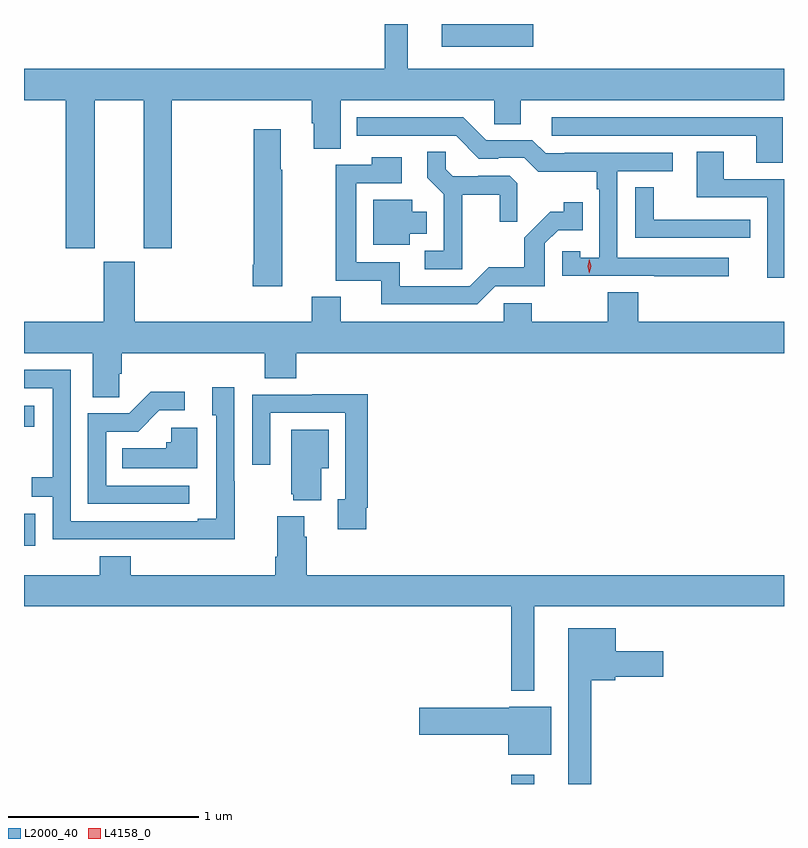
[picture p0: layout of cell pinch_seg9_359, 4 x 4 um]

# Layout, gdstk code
import gdstk
lib = gdstk.Library(unit=1e-6, precision=1e-09)
def R(c, l, rs):  # rectangles x0, y0, x1, y1
    for r in rs: c.add(gdstk.rectangle(r[:2], r[2:], *l))
def P(c, l, *ps):  # polygons
    for p in ps: c.add(gdstk.Polygon(p, *l))
L2000_40 = (2000, 40)
L4158_0 = (4158, 0)

pinch_seg9_359 = lib.new_cell('pinch_seg9_359')
R(pinch_seg9_359, L2000_40, [(375.39,1222.124,375.511,1222.174), (372.825,1223.379,372.885,1223.547), (372.825,1224.005,372.88,1224.115), (375.023,1226.003,375.505,1226.124)])
P(pinch_seg9_359, L2000_40, [(373.198,1225.724),(373.454,1225.724),(373.454,1224.945),(373.602,1224.945),(373.602,1225.724),(374.339,1225.724),(374.339,1225.602),(374.351,1225.602),(374.351,1225.468),(374.491,1225.468),(374.491,1225.724),(375.3,1225.724),(375.3,1225.597),(375.439,1225.597),(375.439,1225.724),(376.825,1225.724),(376.825,1225.888),(374.845,1225.888),(374.845,1226.124),(374.724,1226.124),(374.724,1225.888),(372.825,1225.888),(372.825,1225.724),(373.046,1225.724),(373.046,1224.945),(373.198,1224.945)],
  [(376.819,1225.632),(375.603,1225.632),(375.603,1225.536),(376.679,1225.536),(376.679,1225.393),(376.819,1225.393)],
  [(376.534,1224.894),(375.948,1224.894),(375.948,1225.35),(376.24,1225.35),(376.24,1225.446),(375.67,1225.446),(375.67,1225.443),(375.57,1225.443),(375.501,1225.512),(375.258,1225.512),(375.138,1225.632),(374.576,1225.632),(374.576,1225.536),(375.099,1225.536),(375.219,1225.416),(375.32,1225.416),(375.32,1225.419),(375.459,1225.419),(375.532,1225.346),(375.84,1225.346),(375.84,1225.253),(375.852,1225.253),(375.852,1224.895),(375.753,1224.895),(375.753,1224.927),(375.657,1224.927),(375.657,1224.798),(376.141,1224.798),(376.141,1224.796),(376.534,1224.796)],
  [(374.184,1225.357),(374.176,1225.357),(374.176,1225.57),(374.035,1225.57),(374.035,1224.856),(374.03,1224.856),(374.03,1224.744),(374.184,1224.744)],
  [(375.131,1225.226),(375.328,1225.226),(375.328,1225.083),(375.422,1225.083),(375.422,1225.285),(375.381,1225.326),(375.216,1225.326),(375.216,1225.323),(375.082,1225.323),(375.045,1225.36),(375.045,1225.451),(374.947,1225.451),(374.947,1225.315),(375.033,1225.229),(375.033,1224.93),(374.934,1224.93),(374.934,1224.834),(375.131,1224.834)],
  [(376.825,1225.308),(376.507,1225.308),(376.507,1225.451),(376.367,1225.451),(376.367,1225.212),(376.737,1225.212),(376.737,1224.789),(376.825,1224.789)],
  [(375.306,1224.744),(375.567,1224.744),(375.567,1224.969),(375.636,1225.038),(375.767,1225.038),(375.767,1225.186),(375.666,1225.186),(375.666,1225.136),(375.596,1225.136),(375.459,1224.998),(375.459,1224.843),(375.27,1224.843),(375.171,1224.744),(374.803,1224.744),(374.803,1224.87),(374.574,1224.87),(374.574,1225.287),(374.812,1225.287),(374.812,1225.423),(374.656,1225.423),(374.656,1225.383),(374.466,1225.383),(374.466,1224.774),(374.705,1224.774),(374.705,1224.648),(375.21,1224.648)],
  [(376.648,1225.094),(376.535,1225.094),(376.535,1225.095),(376.14,1225.095),(376.14,1225.265),(376.041,1225.265),(376.041,1224.999),(376.648,1224.999)],
  [(374.854,1225.019),(374.944,1225.019),(374.944,1225.135),(374.869,1225.135),(374.869,1225.198),(374.663,1225.198),(374.663,1224.962),(374.854,1224.962)],
  [(376.825,1224.556),(376.058,1224.556),(376.058,1224.713),(375.898,1224.713),(375.898,1224.556),(375.498,1224.556),(375.498,1224.654),(375.351,1224.654),(375.351,1224.556),(374.491,1224.556),(374.491,1224.689),(374.339,1224.689),(374.339,1224.556),(373.408,1224.556),(373.408,1224.873),(373.244,1224.873),(373.244,1224.556),(372.825,1224.556),(372.825,1224.392),(373.187,1224.392),(373.187,1224.16),(373.326,1224.16),(373.326,1224.283),(373.34,1224.283),(373.34,1224.392),(374.093,1224.392),(374.093,1224.259),(374.258,1224.259),(374.258,1224.392),(376.825,1224.392)],
  [(373.935,1223.717),(373.932,1223.717),(373.932,1224.211),(373.817,1224.211),(373.817,1224.066),(373.836,1224.066),(373.836,1223.521),(373.739,1223.521),(373.739,1223.508),(373.071,1223.508),(373.071,1224.303),(372.825,1224.303),(372.825,1224.207),(372.975,1224.207),(372.975,1223.738),(372.865,1223.738),(372.865,1223.637),(372.975,1223.637),(372.975,1223.412),(373.471,1223.412),(373.471,1223.411),(373.935,1223.411)],
  [(373.696,1223.694),(373.257,1223.694),(373.257,1223.979),(373.426,1223.979),(373.537,1224.09),(373.672,1224.09),(373.672,1224.188),(373.493,1224.188),(373.38,1224.075),(373.161,1224.075),(373.161,1223.598),(373.696,1223.598)],
  [(374.626,1223.578),(374.633,1223.578),(374.633,1224.176),(374.341,1224.176),(374.341,1224.174),(374.025,1224.174),(374.025,1223.805),(374.121,1223.805),(374.121,1224.078),(374.517,1224.078),(374.517,1223.622),(374.477,1223.622),(374.477,1223.466),(374.626,1223.466)],
  [(373.738,1223.998),(373.599,1223.998),(373.599,1223.922),(373.573,1223.922),(373.573,1223.89),(373.342,1223.89),(373.342,1223.786),(373.738,1223.786)],
  [(374.389,1223.786),(374.428,1223.786),(374.428,1223.989),(374.231,1223.989),(374.231,1223.649),(374.243,1223.649),(374.243,1223.618),(374.389,1223.618)],
  [(375.511,1223.06),(376.825,1223.06),(376.825,1223.224),(374.312,1223.224),(374.312,1223.426),(374.299,1223.426),(374.299,1223.533),(374.159,1223.533),(374.159,1223.32),(374.147,1223.32),(374.147,1223.224),(373.388,1223.224),(373.388,1223.323),(373.223,1223.323),(373.223,1223.224),(372.825,1223.224),(372.825,1223.06),(375.39,1223.06),(375.39,1222.616),(375.511,1222.616)],
  [(375.811,1222.67),(375.936,1222.67),(375.936,1222.688),(376.189,1222.688),(376.189,1222.822),(375.94,1222.822),(375.94,1222.945),(375.689,1222.945),(375.689,1222.124),(375.811,1222.124)],
  [(375.601,1222.531),(375.378,1222.531),(375.378,1222.526),(374.904,1222.526),(374.904,1222.384),(375.374,1222.384),(375.374,1222.277),(375.601,1222.277)])
P(pinch_seg9_359, L4158_0, [(375.801,1224.813),(375.801,1224.813),(375.791,1224.849),(375.801,1224.885),(375.801,1224.885),(375.801,1224.885),(375.811,1224.849),(375.801,1224.813)])

lib.write_gds('pinch_seg9_359.gds')
